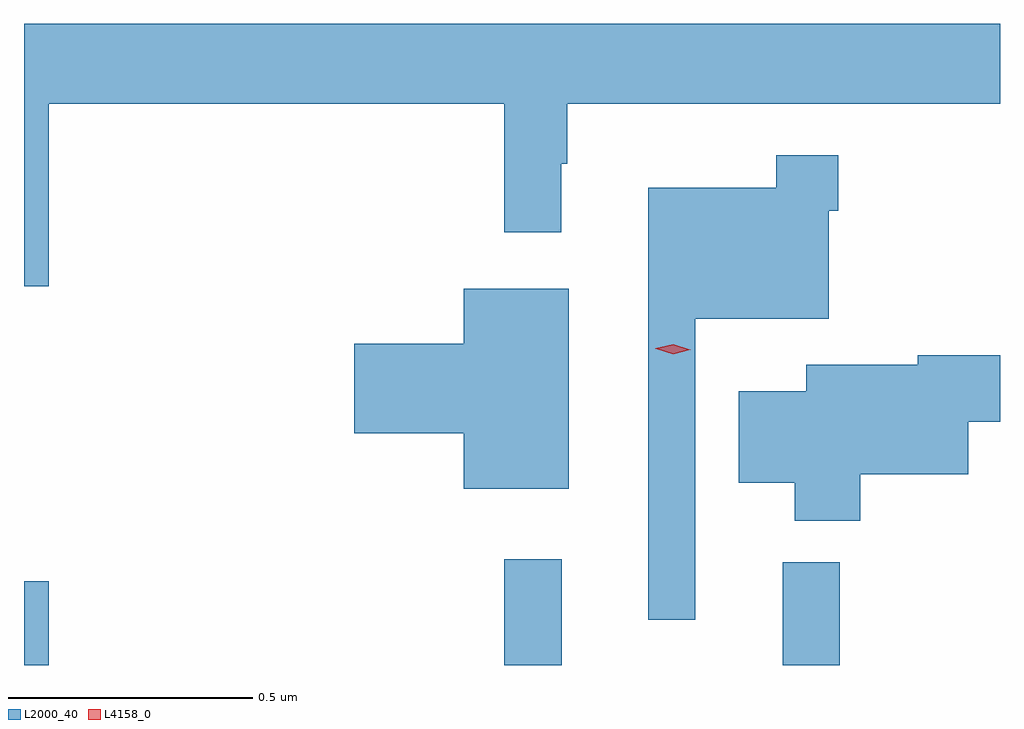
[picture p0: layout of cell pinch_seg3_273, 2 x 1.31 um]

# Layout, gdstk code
import gdstk
lib = gdstk.Library(unit=1e-6, precision=1e-09)
def R(c, l, rs):  # rectangles x0, y0, x1, y1
    for r in rs: c.add(gdstk.rectangle(r[:2], r[2:], *l))
def P(c, l, *ps):  # polygons
    for p in ps: c.add(gdstk.Polygon(p, *l))
L2000_40 = (2000, 40)
L4158_0 = (4158, 0)

pinch_seg3_273 = lib.new_cell('pinch_seg3_273')
R(pinch_seg3_273, L2000_40, [(896.389,713.085,896.44,713.257), (897.373,713.085,897.491,713.302), (897.944,713.085,898.061,713.296)])
P(pinch_seg3_273, L2000_40, [(896.44,714.236),(897.373,714.236),(897.373,713.973),(897.49,713.973),(897.49,714.113),(897.502,714.113),(897.502,714.236),(898.389,714.236),(898.389,714.4),(896.389,714.4),(896.389,713.862),(896.44,713.862)],
  [(897.765,713.795),(898.038,713.795),(898.038,714.017),(898.058,714.017),(898.058,714.13),(897.93,714.13),(897.93,714.064),(897.668,714.064),(897.668,713.178),(897.765,713.178)],
  [(897.505,713.857),(897.29,713.857),(897.29,713.744),(897.066,713.744),(897.066,713.561),(897.29,713.561),(897.29,713.447),(897.505,713.447)],
  [(898.103,713.477),(898.324,713.477),(898.324,713.584),(898.389,713.584),(898.389,713.72),(898.22,713.72),(898.22,713.701),(897.992,713.701),(897.992,713.647),(897.854,713.647),(897.854,713.459),(897.968,713.459),(897.968,713.381),(898.103,713.381)])
P(pinch_seg3_273, L4158_0, [(897.719,713.723),(897.684,713.734),(897.683,713.734),(897.684,713.735),(897.719,713.743),(897.754,713.732),(897.755,713.732),(897.754,713.732)])

lib.write_gds('pinch_seg3_273.gds')
